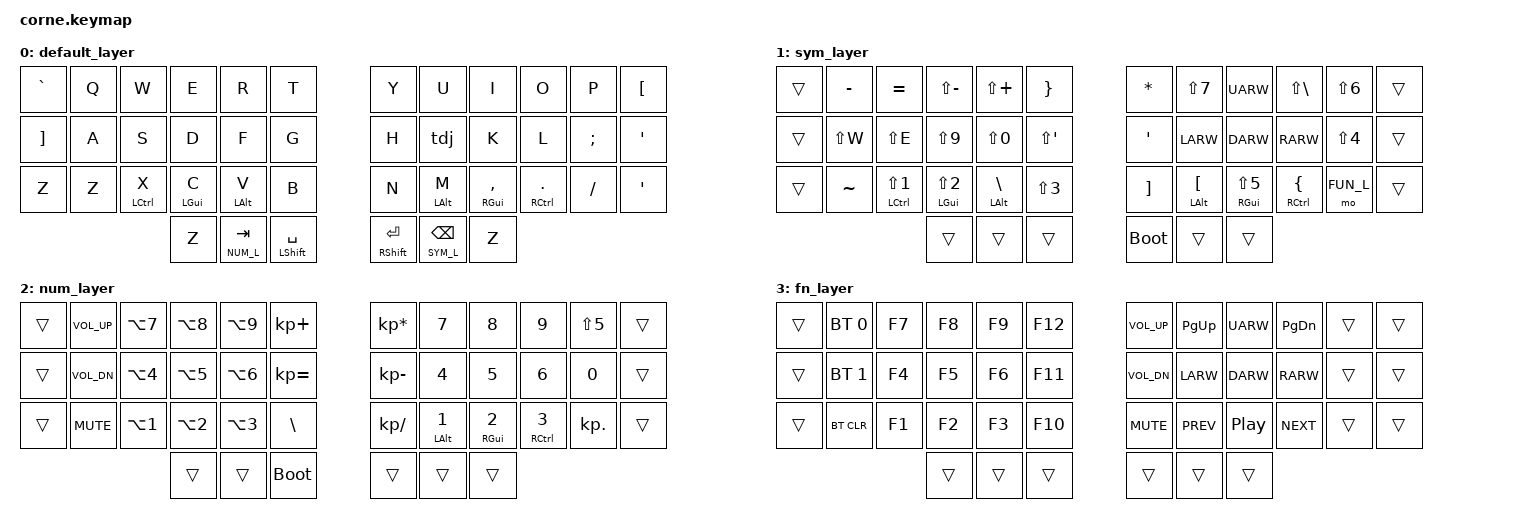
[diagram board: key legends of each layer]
/*
 * Copyright (c) 2020 The ZMK Contributors
 *
 * SPDX-License-Identifier: MIT
 */

#include <behaviors.dtsi>
#include <dt-bindings/zmk/keys.h>
#include <dt-bindings/zmk/bt.h>

#define DEF_L 0
#define SYM_L 1
#define NUM_L 2
#define FUN_L 3

// Using layer taps on thumbs, having quick tap as well helps w/ repeating space/backspace
// &lt { quick_tap_ms = <-1>; };

/ {
    behaviors {
        ht: hold_tap_mods_standard {
            compatible = "zmk,behavior-hold-tap";
            label = "HOLD_TAP_PREF";
            #binding-cells = <2>;
            tapping-term-ms = <100>;
            flavor = "hold-preferred";
            bindings = <&kp>, <&kp>;
        };

        hm: hold_tap_mods_standard {
            compatible = "zmk,behavior-hold-tap";
            label = "HOLD_TAP_TAP_PREF";
            #binding-cells = <2>;
            tapping-term-ms = <200>;
            flavor = "tap-preferred";
            bindings = <&kp>, <&kp>;
        };

        tdj: tap_dance_1 {
            compatible = "zmk,behavior-tap-dance";
            label = "TAP_DANCE_1";
            #binding-cells = <0>;
            tapping-term-ms = <175>;
            bindings = <&kp J>, <&kp ESC>;
        };

    };

    keymap {
        compatible = "zmk,keymap";

// DEFAULT


        default_layer {
            bindings = <
                &kp GRAVE &kp Q   &kp W        &kp E       &kp R       &kp T         &kp Y            &kp U          &kp I            &kp O           &kp P     &kp LBKT
                &kp RBKT  &kp A   &kp S        &kp D       &kp F       &kp G         &kp H            &tdj           &kp K            &kp L           &kp SEMI  &kp QUOT
                &kp Z     &kp Z   &hm LCTRL X  &hm LGUI C  &hm LALT V  &kp B         &kp N            &hm LALT M     &hm RGUI COMMA   &hm RCTRL DOT   &kp FSLH	&kp QUOT
                                  &kp Z        &lt NUM_L TAB  &ht LSHFT SPACE        &ht RSHFT ENTER  &lt SYM_L BKSP	&kp Z
                >;
        };




        sym_layer {
            bindings = <
                &trans &kp MINUS        &kp EQUAL         &kp LS(MINUS)    &kp LS(PLUS)     &kp RBRC      &kp STAR  &kp LS(N7)       &kp UARW         &kp LS(BSLH)     &kp LS(N6) &trans
                &trans &kp LS(W)        &kp LS(E)         &kp LS(N9)       &kp LS(N0)       &kp LS(QUOT)  &kp QUOT  &kp LARW         &kp DARW         &kp RARW         &kp LS(N4) &trans
                &trans &kp TILDE        &hm LCTRL LS(N1)  &hm LGUI LS(N2)  &hm LALT BSLH    &kp LS(N3)    &kp RBKT  &hm LALT LBKT    &hm RGUI LS(N5)  &hm RCTRL LBRC   &mo FUN_L	&trans 
                                                                  &trans     &trans &trans              &bootloader &trans	&trans 
            >;
        };



        num_layer {
            bindings = <
                &trans &kp C_VOL_UP  &kp LA(N7)  &kp LA(N8)  &kp LA(N9)   &kp KP_PLUS           &kp KP_MULTIPLY  &kp N7       &kp N8       &kp N9        &kp LS(N5) &trans
                &trans &kp C_VOL_DN  &kp LA(N4)  &kp LA(N5)  &kp LA(N6)   &kp KP_EQUAL          &kp KP_MINUS     &kp N4       &kp N5       &kp N6        &kp N0     &trans
                &trans &kp C_MUTE    &kp LA(N1)  &kp LA(N2)  &kp LA(N3)   &kp BSLH              &kp KP_SLASH     &hm LALT N1  &hm RGUI N2  &hm RCTRL N3  &kp KP_DOT	&trans 
                                                           &trans  &trans &bootloader           &trans &trans	&trans 
            >;
        };



        fn_layer {
            bindings = <
                &trans &bt BT_SEL 0  &kp F7  &kp F8  &kp F9   &kp F12          &kp C_VOL_UP    &kp PG_UP   &kp UARW  &kp PG_DN   &trans &trans
                &trans &bt BT_SEL 1  &kp F4  &kp F5  &kp F6   &kp F11          &kp C_VOL_DN    &kp LARW    &kp DARW  &kp RARW    &trans &trans
                &trans &bt BT_CLR    &kp F1  &kp F2  &kp F3   &kp F10          &kp C_MUTE      &kp C_PREV  &kp C_PP  &kp C_NEXT  &trans &trans 
                                      &trans  &trans &trans                      &trans &trans &trans 
            >;
        };

    };
};
